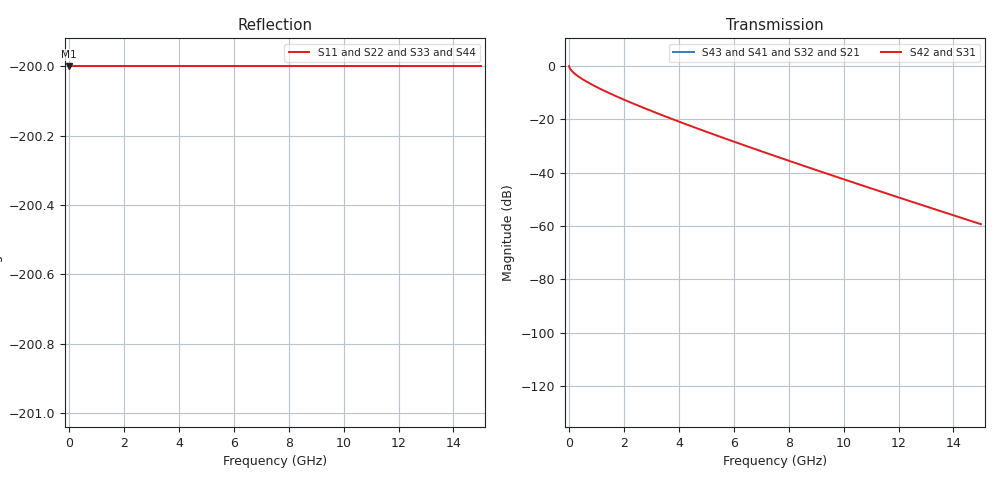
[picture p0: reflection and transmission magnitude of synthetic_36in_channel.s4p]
! Created with skrf 2.1.0 (http://scikit-rf.org).
# GHz S RI R 50.0
!freq ReS11 ImS11 ReS12 ImS12 ReS13 ImS13
! ReS14 ImS14
! ReS21 ImS21 ReS22 ImS22 ReS23 ImS23
! ReS24 ImS24
! ReS31 ImS31 ReS32 ImS32 ReS33 ImS33
! ReS34 ImS34
! ReS41 ImS41 ReS42 ImS42 ReS43 ImS43
! ReS44 ImS44
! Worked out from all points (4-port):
!   1001 points, 1 MHz to 15 GHz, reference 50 ohm
!   strongest paths, dB at 1 MHz, 3.751 GHz, 7.5 GHz, 11.25 GHz, 15 GHz:
!     S42: -0.2, -20.0, -33.8, -46.8, -59.3
!     S31: -0.2, -20.0, -33.8, -46.8, -59.3
!     S43: -, -, -, -, -
!     S41: -, -, -, -, -
!     S32: -, -, -, -, -
!     S21: -, -, -, -, -
!   lowest |S11| = - dB at 1 MHz (marker M1), VSWR 1.00, Z = 50 + j0 ohm
!   |S11| at or under -10 dB: start of sweep to end of sweep
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0.001  0 0  0 0  0.9793 -0.0319  0 0
       0 0  0 0  0 0  0.9793 -0.0319
       0.9793 -0.0319  0 0  0 0  0 0
       0 0  0.9793 -0.0319  0 0  0 0
0.105993  0 0  0 0  -0.7509 0.2425  0 0
          0 0  0 0  0 0  -0.7509 0.2425
          -0.7509 0.2425  0 0  0 0  0 0
          0 0  -0.7509 0.2425  0 0  0 0
0.195987  0 0  0 0  0.7103 -0.0738  0 0
          0 0  0 0  0 0  0.7103 -0.0738
          0.7103 -0.0738  0 0  0 0  0 0
          0 0  0.7103 -0.0738  0 0  0 0
0.30098  0 0  0 0  -0.6012 0.2424  0 0
         0 0  0 0  0 0  -0.6012 0.2424
         -0.6012 0.2424  0 0  0 0  0 0
         0 0  -0.6012 0.2424  0 0  0 0
0.390974  0 0  0 0  0.5928 -0.1045  0 0
          0 0  0 0  0 0  0.5928 -0.1045
          0.5928 -0.1045  0 0  0 0  0 0
          0 0  0.5928 -0.1045  0 0  0 0
0.480968  0 0  0 0  -0.5616 -0.0193  0 0
          0 0  0 0  0 0  -0.5616 -0.0193
          -0.5616 -0.0193  0 0  0 0  0 0
          0 0  -0.5616 -0.0193  0 0  0 0
15  0 0  0 0  0.00106 -0.000183  0 0
    0 0  0 0  0 0  0.00106 -0.000183
    0.00106 -0.000183  0 0  0 0  0 0
    0 0  0.00106 -0.000183  0 0  0 0
